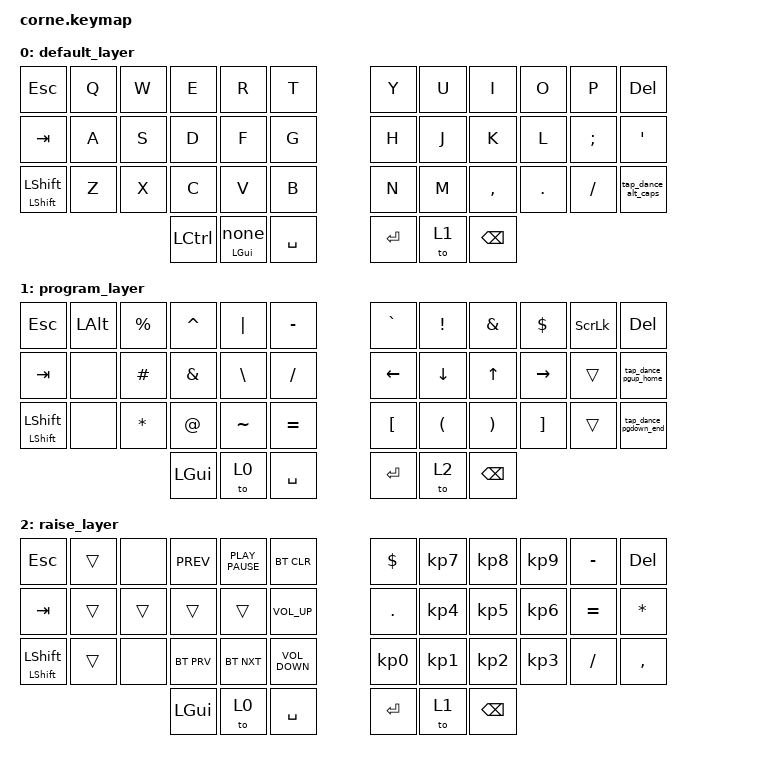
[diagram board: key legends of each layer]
/*
 * Copyright (c) 2020 The ZMK Contributors
 *
 * SPDX-License-Identifier: MIT
 */

#include <behaviors.dtsi>
#include <dt-bindings/zmk/bt.h>
#include <dt-bindings/zmk/keys.h>

&sk { quick-release; };

/ {
    behaviors {
        tap_hold: tap_hold {
            compatible = "zmk,behavior-hold-tap";
            label = "TAP_HOLD";
            bindings = <&kp>, <&sk>;

            #binding-cells = <2>;
            tapping-term-ms = <200>;
            flavor = "tap-preferred";
        };

        tap_dance_alt_caps: tap_dance_alt_caps {
            compatible = "zmk,behavior-tap-dance";
            label = "TAP_DANCE_ALT_CAPS";
            #binding-cells = <0>;
            bindings = <&tap_hold RIGHT_ALT RIGHT_ALT>, <&kp CAPS>;
        };

        hold_no_tap: hold_no_tap {
            compatible = "zmk,behavior-hold-tap";
            label = "HOLD_NO_TAP";
            bindings = <&kp>, <&none>;

            #binding-cells = <2>;
            tapping-term-ms = <100>;
        };

        tap_dance_pgup_home: tap_dance_pgup_home {
            compatible = "zmk,behavior-tap-dance";
            label = "TAP_DANCE_PGUP_HOME";
            #binding-cells = <0>;
            bindings = <&kp HOME>, <&kp PAGE_UP>;
        };

        tap_dance_pgdown_end: tap_dance_pgdown_end {
            compatible = "zmk,behavior-tap-dance";
            label = "TAP_DANCE_PGDOWN_END";
            #binding-cells = <0>;
            bindings = <&kp END>, <&kp PAGE_DOWN>;
        };
    };

    keymap {
        compatible = "zmk,keymap";

        default_layer {
            // -----------------------------------------------------------------------------------------
            // |  TAB |  Q  |  W  |  E  |  R  |  T  |   |  Y  |  U   |  I  |  O  |  P  | BKSP |
            // | CTRL |  A  |  S  |  D  |  F  |  G  |   |  H  |  J   |  K  |  L  |  ;  |  '   |
            // | SHFT |  Z  |  X  |  C  |  V  |  B  |   |  N  |  M   |  ,  |  .  |  /  | ESC  |
            //                    | GUI | LWR | SPC |   | ENT | RSE  | ALT |

            bindings = <
&kp ESCAPE                       &kp Q  &kp W  &kp E             &kp R                &kp T        &kp Y    &kp U  &kp I          &kp O    &kp P     &kp DEL
&kp TAB                          &kp A  &kp S  &kp D             &kp F                &kp G        &kp H    &kp J  &kp K          &kp L    &kp SEMI  &kp SQT
&tap_hold LEFT_SHIFT LEFT_SHIFT  &kp Z  &kp X  &kp C             &kp V                &kp B        &kp N    &kp M  &kp COMMA      &kp DOT  &kp FSLH  &tap_dance_alt_caps
                                               &kp LEFT_CONTROL  &hold_no_tap LGUI 0  &kp SPACE    &kp RET  &to 1  &kp BACKSPACE
            >;
        };

        program_layer {
            // -----------------------------------------------------------------------------------------
            // |  TAB |  1  |  2  |  3  |  4  |  5  |   |  6  |  7  |  8  |  9  |  0  | BKSP |
            // | BTCLR| BT1 | BT2 | BT3 | BT4 | BT5 |   | LFT | DWN |  UP | RGT |     |      |
            // | SHFT |     |     |     |     |     |   |     |     |     |     |     |      |
            //                    | GUI |     | SPC |   | ENT |     | ALT |

            bindings = <
&kp ESCAPE                       &kp LEFT_ALT  &kp PERCENT   &kp CARET      &kp PIPE       &kp MINUS    &kp GRAVE         &kp EXCLAMATION       &kp AMPERSAND          &kp DOLLAR         &kp SCROLLLOCK  &kp DEL
&kp TAB                          &none         &kp HASH      &kp AMPERSAND  &kp BACKSLASH  &kp SLASH    &kp LEFT          &kp DOWN              &kp UP                 &kp RIGHT          &trans          &tap_dance_pgup_home
&tap_hold LEFT_SHIFT LEFT_SHIFT  &none         &kp ASTERISK  &kp AT_SIGN    &kp TILDE      &kp EQUAL    &kp LEFT_BRACKET  &kp LEFT_PARENTHESIS  &kp RIGHT_PARENTHESIS  &kp RIGHT_BRACKET  &trans          &tap_dance_pgdown_end
                                                             &kp LGUI       &to 0          &kp SPACE    &kp RET           &to 2                 &kp BACKSPACE
            >;
        };

        raise_layer {
            // -----------------------------------------------------------------------------------------
            // |  TAB |  !  |  @  |  #  |  $  |  %  |   |  ^  |  &  |  *  |  (  |  )  | BKSP |
            // | CTRL |     |     |     |     |     |   |  -  |  =  |  [  |  ]  |  \  |  `   |
            // | SHFT |     |     |     |     |     |   |  _  |  +  |  {  |  }  | "|" |  ~   |
            //                    | GUI |     | SPC |   | ENT |     | ALT |

            bindings = <
&kp ESCAPE                       &trans  &none   &kp K_PREV  &kp K_PLAY_PAUSE  &bt BT_CLR           &kp DOLLAR       &kp KP_NUMBER_7  &kp KP_NUMBER_8  &kp KP_NUMBER_9  &kp MINUS  &kp DEL
&kp TAB                          &trans  &trans  &trans      &trans            &kp C_VOLUME_UP      &kp PERIOD       &kp KP_NUMBER_4  &kp KP_NUMBER_5  &kp KP_NUMBER_6  &kp EQUAL  &kp ASTERISK
&tap_hold LEFT_SHIFT LEFT_SHIFT  &trans  &none   &bt BT_PRV  &bt BT_NXT        &kp C_VOLUME_DOWN    &kp KP_NUMBER_0  &kp KP_NUMBER_1  &kp KP_NUMBER_2  &kp KP_NUMBER_3  &kp SLASH  &kp COMMA
                                                 &kp LGUI    &to 0             &kp SPACE            &kp RET          &to 1            &kp BACKSPACE
            >;
        };
    };
};
